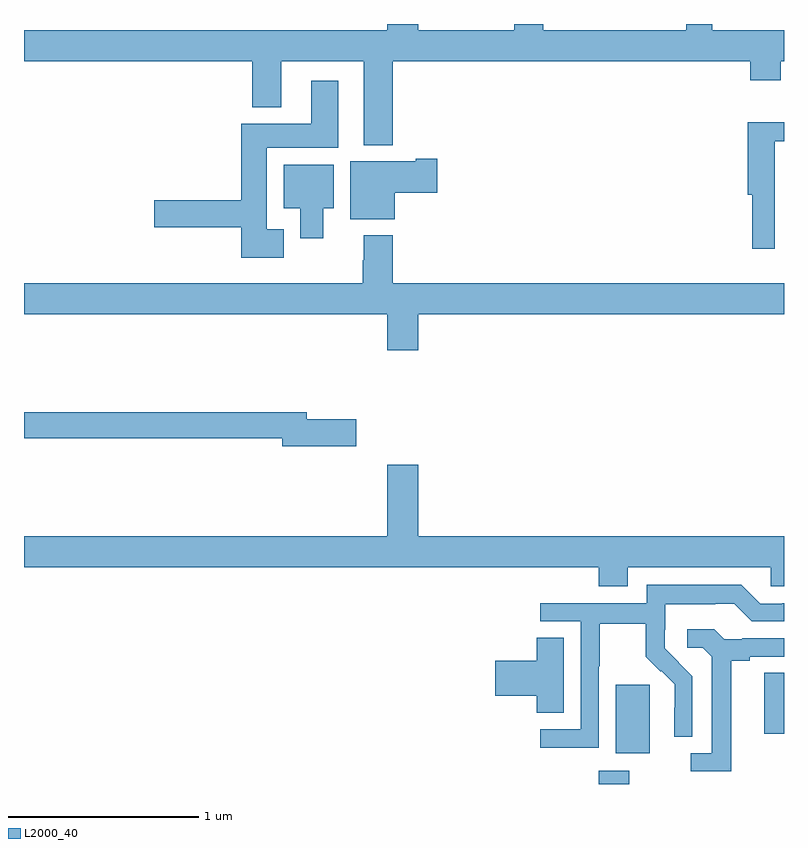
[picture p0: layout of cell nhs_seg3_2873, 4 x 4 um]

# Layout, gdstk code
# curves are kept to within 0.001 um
import gdstk
lib = gdstk.Library(unit=1e-6, precision=1e-09)
def R(c, l, rs):  # rectangles x0, y0, x1, y1
    for r in rs: c.add(gdstk.rectangle(r[:2], r[2:], *l))
def P(c, l, *ps):  # polygons
    for p in ps: c.add(gdstk.Polygon(p, *l))
L2000_40 = (2000, 40)

nhs_seg3_2873 = lib.new_cell('nhs_seg3_2873')
R(nhs_seg3_2873, L2000_40, [(262.025,742.4,262.185,742.471), (262.115,742.562,262.294,742.923), (262.895,742.665,263,742.985)])
P(nhs_seg3_2873, L2000_40, [(260.942,746.204),(262.823,746.204),(262.823,746.105),(262.983,746.105),(262.983,746.204),(263,746.204),(263,746.368),(262.623,746.368),(262.623,746.4),(262.485,746.4),(262.485,746.368),(261.733,746.368),(261.733,746.4),(261.581,746.4),(261.581,746.368),(261.076,746.368),(261.076,746.4),(260.912,746.4),(260.912,746.368),(259,746.368),(259,746.204),(260.201,746.204),(260.201,745.961),(260.353,745.961),(260.353,746.204),(260.789,746.204),(260.789,745.763),(260.942,745.763)],
  [(260.368,745.321),(260.278,745.321),(260.278,745.748),(260.653,745.748),(260.653,746.101),(260.513,746.101),(260.513,745.876),(260.144,745.876),(260.144,745.472),(259.686,745.472),(259.686,745.33),(260.144,745.33),(260.144,745.169),(260.368,745.169)],
  [(262.95,745.784),(263,745.784),(263,745.884),(262.808,745.884),(262.808,745.502),(262.834,745.502),(262.834,745.218),(262.95,745.218)],
  [(260.95,745.513),(261.175,745.513),(261.175,745.691),(261.062,745.691),(261.062,745.678),(260.717,745.678),(260.717,745.373),(260.95,745.373)],
  [(260.575,745.43),(260.629,745.43),(260.629,745.66),(260.366,745.66),(260.366,745.43),(260.453,745.43),(260.453,745.272),(260.575,745.272)],
  [(261.076,744.872),(263,744.872),(263,745.036),(260.942,745.036),(260.942,745.288),(260.789,745.288),(260.789,745.157),(260.782,745.157),(260.782,745.036),(259,745.036),(259,744.872),(260.912,744.872),(260.912,744.684),(261.076,744.684)],
  [(260.749,744.32),(260.488,744.32),(260.488,744.356),(259,744.356),(259,744.22),(260.36,744.22),(260.36,744.178),(260.749,744.178)],
  [(262.177,743.54),(262.929,743.54),(262.929,743.442),(263,743.442),(263,743.704),(261.076,743.704),(261.076,744.079),(260.912,744.079),(260.912,743.704),(259,743.704),(259,743.54),(262.025,743.54),(262.025,743.441),(262.177,743.441)],
  [(262.026,743.02),(262.029,743.02),(262.029,743.244),(262.273,743.244),(262.273,743.069),(262.35,742.992),(262.353,742.995),(262.424,742.925),(262.424,742.802),(262.422,742.802),(262.422,742.648),(262.518,742.648),(262.518,742.966),(262.372,743.114),(262.372,743.211),(262.374,743.211),(262.374,743.345),(262.637,743.345),(262.637,743.349),(262.737,743.349),(262.83,743.256),(263,743.256),(263,743.352),(262.991,743.352),(262.991,743.349),(262.875,743.349),(262.775,743.449),(262.278,743.449),(262.278,743.352),(261.717,743.352),(261.717,743.256),(261.93,743.256),(261.93,742.689),(261.717,742.689),(261.717,742.591),(262.026,742.591)],
  [(262.723,743.048),(262.819,743.048),(262.819,743.07),(263,743.07),(263,743.166),(262.78,743.166),(262.78,743.163),(262.686,743.163),(262.634,743.215),(262.491,743.215),(262.491,743.118),(262.572,743.118),(262.619,743.071),(262.619,742.563),(262.509,742.563),(262.509,742.467),(262.723,742.467)],
  [(261.841,743.171),(261.698,743.171),(261.698,743.048),(261.48,743.048),(261.48,742.865),(261.698,742.865),(261.698,742.774),(261.841,742.774)])

lib.write_gds('nhs_seg3_2873.gds')
